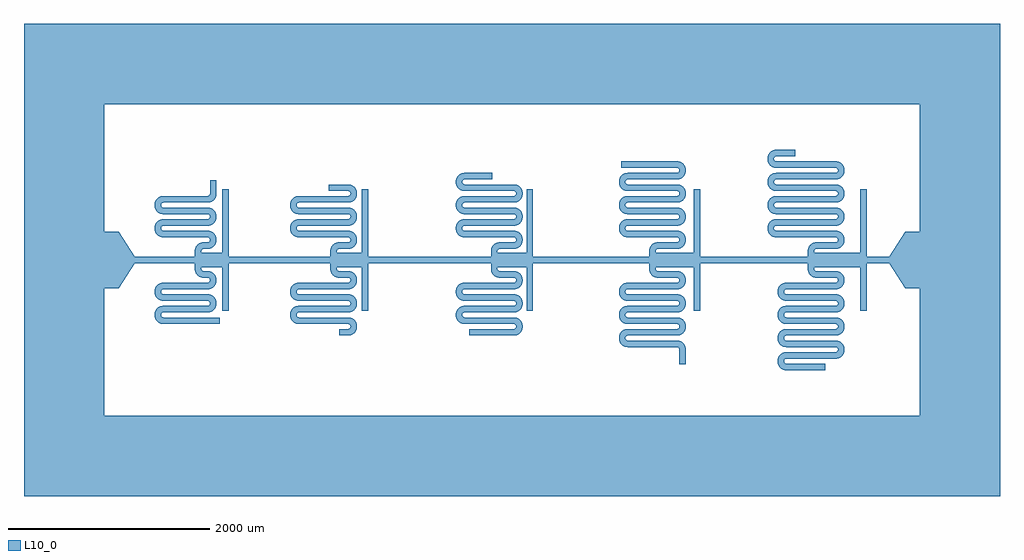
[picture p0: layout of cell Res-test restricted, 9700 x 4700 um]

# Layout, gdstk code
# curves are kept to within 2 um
import gdstk
lib = gdstk.Library(unit=1e-6, precision=1e-09)
def R(c, l, rs):  # rectangles x0, y0, x1, y1
    for r in rs: c.add(gdstk.rectangle(r[:2], r[2:], *l))
def P(c, l, *ps):  # polygons
    for p in ps: c.add(gdstk.Polygon(p, *l))
L10_0 = (10, 0)

res_test_restricted = lib.new_cell('Res-test restricted')
R(res_test_restricted, L10_0, [(7934.389,1255.25,7964.389,1318.25), (6513.667,1314.75,6576.667,1344.75), (3130.915,1600.25,3160.915,1663.25), (4427.582,1600.25,4457.582,1663.25), (1762.778,1715.25,1838.978,1778.25), (1838.978,1715.25,1860.35,1778.25), (1860.35,1715.25,1914.167,1778.25), (1914.167,1715.25,1944.167,1778.25), (1971.667,1845.5,2034.667,1875.5), (3358.333,1845.5,3421.333,1875.5), (4995,1845.5,5058,1875.5), (6656.667,1845.5,6719.667,1875.5), (8313.333,1845.5,8376.333,1875.5), (1971.667,1875.5,2034.667,2275.5), (3358.333,1875.5,3421.333,2275.5), (4995,1875.5,5058,2275.5), (6656.667,1875.5,6719.667,2275.5), (8313.333,1875.5,8376.333,2275.5), (1741.667,2275.5,1991.667,2424.5), (3088.333,2275.5,3378.333,2424.5), (4685,2275.5,5015,2424.5), (6256.667,2275.5,6676.667,2424.5), (7833.333,2275.5,8333.333,2424.5), (1708.667,2290.5,1718.667,2409.5), (2014.667,2290.5,2024.667,2409.5), (3055.333,2290.5,3065.333,2409.5), (3401.333,2290.5,3411.333,2409.5), (4652,2290.5,4662,2409.5), (5038,2290.5,5048,2409.5), (6223.667,2290.5,6233.667,2409.5), (6699.667,2290.5,6709.667,2409.5), (7800.333,2290.5,7810.333,2409.5), (8356.333,2290.5,8366.333,2409.5), (1100,2318.5,1708.667,2381.5), (2024.667,2318.5,3055.333,2381.5), (3411.333,2318.5,4652,2381.5), (5048,2318.5,6223.667,2381.5), (6709.667,2318.5,7800.333,2381.5), (8366.333,2318.5,8600,2381.5), (1971.667,2424.5,2034.667,3024.5), (3358.333,2424.5,3421.333,3024.5), (4995,2424.5,5058,3024.5), (6656.667,2424.5,6719.667,3024.5), (8313.333,2424.5,8376.333,3024.5), (1971.667,3024.5,2034.667,3054.5), (3358.333,3024.5,3421.333,3054.5), (4995,3024.5,5058,3054.5), (6656.667,3024.5,6719.667,3054.5), (8313.333,3024.5,8376.333,3054.5), (3030.915,3036.75,3060.915,3099.75), (1848.667,3111.25,1911.667,3141.25), (4621.631,3151.75,4651.631,3214.75), (5934.824,3266.75,5964.824,3329.75), (7634.389,3381.75,7664.389,3444.75)])
P(res_test_restricted, L10_0, [(9700,0),(9700,4700),(0,4700),(0,2071),(432,2071),(432,2629),(800,2629),(800,3900),(8900,3900),(8900,2629),(9268,2629),(9268,2071),(8900,2071),(8900,800),(800,800),(800,2071),(432,2071),(0,2071),(0,0)],
  [(1100,2318.5),(1100,2381.5),(940,2629),(432,2629),(432,2071),(940,2071)],
  [(8600,2381.5),(8600,2318.5),(8760,2071),(9268,2071),(9268,2629),(8760,2629)],
  [(1698.667,2424.5),(1698.667,2361.5),(1718.667,2361.5),(1718.667,2338.5),(1698.667,2338.5),(1698.667,2275.5),(1741.667,2275.5),(1741.667,2424.5)],
  [(2034.667,2275.5),(2034.667,2338.5),(2014.667,2338.5),(2014.667,2361.5),(2034.667,2361.5),(2034.667,2424.5),(1991.667,2424.5),(1991.667,2275.5)],
  [(1354.167,2117.507),(1332.507,2105.377),(1313.878,2085.746),(1302.898,2063.481),(1298.667,2036.956),(1301.611,2009.361),(1312.619,1984.637),(1330.729,1964.525),(1354.167,1950.993)],
  [(1354.167,1887.507),(1332.507,1875.377),(1313.878,1855.746),(1302.898,1833.481),(1298.667,1806.956),(1301.611,1779.361),(1312.619,1754.637),(1330.729,1734.525),(1354.167,1720.993)],
  [(1371.858,2012.385),(1364.23,2021.082),(1361.667,2031.956),(1363.458,2045.742),(1371.858,2056.115),(1371.858,2122.22),(1354.167,2117.507),(1354.167,1950.993),(1371.858,1946.28)],
  [(1371.858,1782.385),(1364.23,1791.082),(1361.667,1801.956),(1363.458,1815.742),(1371.858,1826.115),(1371.858,1892.22),(1354.167,1887.507),(1354.167,1720.993),(1371.858,1716.28)],
  [(1762.778,2254.621),(1761.667,2275.5),(1698.667,2275.5),(1701.054,2241.556),(1712.619,2214.637),(1734.322,2191.768),(1762.778,2178.195)],
  [(1372.889,2056.785),(1385.373,2060.25),(1762.778,2060.25),(1762.778,2123.25),(1371.858,2122.22)],
  [(1762.778,2008.25),(1385.373,2008.25),(1371.858,2012.385),(1371.858,1946.28),(1762.778,1945.25)],
  [(1372.889,1826.785),(1385.373,1830.25),(1762.778,1830.25),(1762.778,1893.25),(1371.858,1892.22)],
  [(1762.778,1778.25),(1385.373,1778.25),(1371.858,1782.385),(1371.858,1716.28),(1762.778,1715.25)],
  [(1838.978,2237.14),(1779.681,2238.902),(1768.992,2244.706),(1762.778,2254.621),(1762.778,2178.195),(1827.623,2175.119),(1838.978,2170.76)],
  [(1825.373,2060.25),(1838.978,2061.36),(1838.978,2127.74),(1826.396,2123.285),(1762.778,2123.25),(1762.778,2060.25)],
  [(1838.978,2007.14),(1762.778,2008.25),(1762.778,1945.25),(1826.396,1945.215),(1838.978,1940.76)],
  [(1825.373,1830.25),(1838.978,1831.36),(1838.978,1897.74),(1826.396,1893.285),(1762.778,1893.25),(1762.778,1830.25)],
  [(1840.931,2061.696),(1860.35,2067.726),(1860.35,2230.774),(1838.978,2237.14),(1838.978,2170.76),(1846.103,2162.418),(1848.667,2151.544),(1846.875,2137.758),(1838.978,2127.74),(1838.978,2061.36)],
  [(1840.931,1831.696),(1860.35,1837.726),(1860.35,2000.774),(1838.978,2007.14),(1838.978,1940.76),(1846.103,1932.418),(1848.667,1921.544),(1846.875,1907.758),(1838.978,1897.74),(1838.978,1831.36)],
  [(1862.407,2068.674),(1884.711,2084.003),(1900.08,2103.499),(1909.279,2126.556),(1911.667,2151.956),(1908.107,2176.318),(1897.714,2198.863),(1881.346,2217.527),(1860.35,2230.774),(1860.35,2067.726)],
  [(1862.407,1838.674),(1884.711,1854.003),(1900.08,1873.499),(1909.279,1896.556),(1911.667,1921.956),(1908.107,1946.318),(1897.714,1968.863),(1881.346,1987.527),(1860.35,2000.774),(1860.35,1837.726)],
  [(1761.667,2438.044),(1766.157,2452.061),(1777.906,2460.597),(1836.458,2462.487),(1868.418,2473.336),(1893.794,2495.59),(1908.412,2524.761),(1778.38,2524.486),(1758.436,2520.519),(1741.915,2513.164),(1722.42,2497.795),(1707.091,2475.49),(1699.729,2451.782),(1698.667,2424.5),(1761.667,2424.5)],
  [(1908.722,2525.861),(1911.195,2562.292),(1901.848,2593.268),(1334.322,2593.268),(1356.291,2581.709),(1382.902,2576.777),(1827.623,2576.619),(1836.915,2573.599),(1844.176,2567.061),(1848.656,2547.635),(1841.782,2531.635),(1825.782,2524.761)],
  [(1901.187,2594.526),(1889.451,2611.132),(1874.162,2624.539),(1856.166,2634.007),(1836.458,2639.013),(1383.323,2639.825),(1370.862,2644.608),(1363.017,2655.406),(1361.959,2671.926),(1367.705,2683.973),(1300.105,2683.973),(1299.404,2679.541),(1299.404,2651.959),(1305.249,2630.147),(1316.539,2610.59),(1334.322,2593.268)],
  [(1368.122,2684.424),(1384.552,2691.739),(1838.699,2692.812),(1864.438,2701.176),(1886.333,2717.083),(1902.241,2738.979),(1910.472,2763.946),(1843.808,2763.946),(1835.834,2757.314),(1825.782,2754.761),(1371.635,2753.688),(1345.895,2745.324),(1324,2729.417),(1308.092,2707.521),(1300.105,2683.973)],
  [(1910.604,2764.718),(1911.195,2792.292),(1905.085,2816.353),(1890.944,2839.429),(1872.279,2855.797),(1307.196,2855.797),(1319.389,2837.071),(1334.322,2823.268),(1352.064,2813.332),(1371.635,2807.812),(1827.01,2806.675),(1839.471,2801.892),(1847.103,2791.671),(1848.463,2775.183),(1843.808,2763.946)],
  [(1870.364,2857.006),(1851.897,2865.519),(1829.694,2869.634),(1384.552,2869.761),(1373.955,2872.6),(1365.46,2880.452),(1361.702,2892.02),(1363.701,2907.807),(1371.355,2917.26),(1383.323,2921.675),(1827.431,2921.777),(1301.932,2921.777),(1298.931,2905.037),(1299.729,2879.718),(1307.196,2855.797),(1872.279,2855.797)],
  [(1829.694,2921.866),(1858.27,2928.332),(1884.711,2945.503),(1903.243,2971.01),(1911.195,2999.208),(1911.667,3111.25),(1848.667,3111.25),(1848.463,3005.183),(1843.427,2993.463),(1833.01,2986.1),(1373.876,2984.013),(1349.983,2977.274),(1328.988,2964.027),(1312.619,2945.363),(1301.932,2921.777)],
  [(3045.333,2424.5),(3045.333,2361.5),(3065.333,2361.5),(3065.333,2338.5),(3045.333,2338.5),(3045.333,2275.5),(3088.333,2275.5),(3088.333,2424.5)],
  [(3421.333,2275.5),(3421.333,2338.5),(3401.333,2338.5),(3401.333,2361.5),(3421.333,2361.5),(3421.333,2424.5),(3378.333,2424.5),(3378.333,2275.5)],
  [(3224.098,1600.277),(3244.222,1603.195),(3263.109,1610.73),(3279.715,1622.466),(3293.122,1637.754),(3302.591,1655.75),(3307.271,1673.218),(3308.217,1696.277),(3305.112,1715.119),(3224.289,1715.119),(3237.094,1709.617),(3244.53,1697.832),(3244.53,1680.668),(3236.621,1668.489),(3223.677,1663.325),(3160.915,1663.25),(3160.915,1600.25)],
  [(3304.774,1716.318),(3294.381,1738.863),(3279.715,1756.034),(3259.074,1769.826),(3235.365,1777.188),(2730.604,1778.285),(2719.556,1781.715),(2711.799,1789.473),(2708.465,1799.294),(2709.339,1813.537),(2645.597,1813.537),(2648.278,1779.361),(2663.206,1749.09),(2688.582,1726.836),(2718.301,1716.312)],
  [(2709.486,1814.011),(2717.529,1825.392),(2731.218,1830.239),(3235.365,1831.312),(3261.105,1839.676),(3283,1855.583),(3298.908,1877.479),(3306.895,1901.027),(3239.295,1901.027),(3222.448,1893.261),(2718.301,1892.188),(2690.558,1882.77),(2669.086,1866.295),(2652.809,1841.934),(2645.805,1815.792),(2645.597,1813.537)],
  [(3307.271,1903.218),(3307.271,1935.282),(3296.747,1965.001),(3276.271,1988.975),(3250.709,2003.291),(2650.151,2003.291),(2660.544,1982.754),(2675.654,1965.973),(2694.593,1953.674),(2718.301,1946.312),(3223.677,1945.175),(3236.138,1940.392),(3243.983,1929.594),(3245.041,1913.074),(3239.295,1901.027),(3306.895,1901.027)],
  [(3248.564,2004.019),(3222.04,2008.25),(2729.99,2008.325),(2719.556,2011.715),(2711.484,2020.001),(2708.408,2029.906),(2709.684,2044.594),(2718.022,2055.76),(2731.218,2060.239),(3226.361,2060.366),(3250.709,2065.209),(3274.363,2078.026),(2655.813,2078.026),(2648.278,2059.139),(2645.449,2041.277),(2646.071,2020.459),(2650.151,2003.291)],
  [(3274.493,2078.123),(3293.122,2097.754),(3304.102,2120.019),(3308.306,2144.486),(3305.689,2172.958),(3231.949,2172.958),(3243.299,2161.307),(3245.13,2143.683),(3238.878,2130.576),(3225.509,2123.542),(2725.046,2122.986),(2702.958,2118.291),(2684.721,2109.297),(2669.086,2096.295),(2655.813,2078.026)],
  [(3305.389,2174.139),(3297.853,2193.026),(3286.117,2209.632),(3270.829,2223.039),(3252.833,2232.507),(3226.361,2238.134),(3126.948,2238.766),(3117.529,2243.108),(3110.897,2251.082),(3108.333,2275.5),(3045.333,2275.5),(3047.221,2243.765),(3056.92,2218.499),(3075.654,2195.973),(3100.834,2180.993),(3129.569,2175.277)],
  [(3108.333,2438.044),(3113.573,2453.037),(3126.948,2461.234),(3226.361,2461.866),(3257.017,2469.226),(3274.493,2479.623),(3287.611,2492.071),(3298.908,2508.979),(3305.758,2527.314),(3127.306,2524.634),(3096.65,2517.274),(3072.289,2500.997),(3055.813,2479.526),(3046.779,2454.014),(3045.333,2424.5),(3108.333,2424.5)],
  [(3305.946,2528.056),(3308.217,2557.777),(3303.374,2582.125),(3290.461,2605.91),(3272.678,2623.232),(2655.152,2623.232),(2667.549,2605.368),(2684.721,2590.703),(2702.958,2581.709),(2725.046,2577.014),(3225.509,2576.458),(3238.878,2569.424),(3245.13,2556.317),(3243.299,2538.693),(3232.501,2527.314)],
  [(3270.829,2624.539),(3248.564,2635.519),(3224.098,2639.723),(2730.604,2639.785),(2717.046,2644.989),(2709.137,2657.168),(2708.465,2670.706),(2711.799,2680.527),(2719.556,2688.285),(2729.99,2691.675),(3222.04,2691.75),(3251.836,2697.125),(2650.292,2697.125),(2645.597,2675.037),(2646.779,2647.486),(2655.152,2623.232)],
  [(3252.833,2697.493),(3278.012,2712.473),(3296.747,2734.999),(3306.888,2762.486),(3307.596,2794.541),(3306.888,2799.014),(3239.257,2799.014),(3245.041,2786.926),(3243.983,2770.406),(3236.138,2759.608),(3223.677,2754.825),(2716.069,2753.304),(2694.593,2746.326),(2675.654,2734.027),(2660.544,2717.246),(2650.292,2697.125)],
  [(3306.446,2801.235),(3296.747,2826.501),(3281.378,2845.997),(3259.074,2861.326),(3233.124,2869.013),(2731.218,2869.761),(2717.529,2874.608),(2709.304,2886.576),(2645.59,2886.576),(2652.809,2858.066),(2669.086,2833.705),(2692.562,2816.176),(2720.542,2807.487),(3221.627,2806.75),(3231.391,2804.716),(3239.257,2799.014),(3306.888,2799.014)],
  [(2709.137,2887.168),(2708.465,2900.706),(2711.799,2910.527),(2719.556,2918.285),(2729.99,2921.675),(3235.365,2922.812),(3259.074,2930.174),(3279.715,2943.966),(3295.589,2963.052),(3305.133,2984.954),(2718.301,2983.688),(2690.558,2974.27),(2669.086,2957.795),(2652.809,2933.434),(2645.805,2907.292),(2645.59,2886.576)],
  [(3305.389,2985.861),(3308.069,3020.037),(3300.857,3048.434),(3283,3074.417),(3259.074,3091.326),(3226.361,3099.634),(3060.915,3099.75),(3060.915,3036.75),(3226.719,3036.234),(3241.54,3026.048),(3245.323,3007.635),(3239.295,2992.527),(3224.9,2984.954)],
  [(4642,2424.5),(4642,2361.5),(4662,2361.5),(4662,2338.5),(4642,2338.5),(4642,2275.5),(4685,2275.5),(4685,2424.5)],
  [(5058,2275.5),(5058,2338.5),(5038,2338.5),(5038,2361.5),(5058,2361.5),(5058,2424.5),(5015,2424.5),(5015,2275.5)],
  [(4870.764,1600.277),(4890.889,1603.195),(4909.776,1610.73),(4926.382,1622.466),(4939.789,1637.754),(4948.418,1653.647),(4953.938,1673.218),(4954.884,1696.277),(4951.778,1715.119),(4870.956,1715.119),(4885.962,1707.473),(4892,1691.544),(4887.142,1672.446),(4870.956,1663.381),(4457.582,1663.25),(4457.582,1600.25)],
  [(4951.44,1716.318),(4942.256,1736.948),(4926.382,1756.034),(4905.74,1769.826),(4882.032,1777.188),(4377.27,1778.285),(4366.223,1781.715),(4358.465,1789.473),(4355.131,1799.294),(4356.005,1813.537),(4292.264,1813.537),(4294.945,1779.361),(4309.873,1749.09),(4333.302,1727.994),(4364.968,1716.312)],
  [(4356.153,1814.011),(4364.196,1825.392),(4377.885,1830.239),(4882.032,1831.312),(4907.771,1839.676),(4929.667,1855.583),(4944.52,1875.474),(4953.561,1901.027),(4885.962,1901.027),(4869.115,1893.261),(4364.968,1892.188),(4337.224,1882.77),(4315.753,1866.295),(4299.476,1841.934),(4292.471,1815.792),(4292.264,1813.537)],
  [(4953.938,1903.218),(4953.938,1935.282),(4943.414,1965.001),(4922.938,1988.975),(4897.375,2003.291),(4296.818,2003.291),(4307.211,1982.754),(4322.321,1965.973),(4343.316,1952.726),(4364.968,1946.312),(4870.344,1945.175),(4882.804,1940.392),(4890.65,1929.594),(4891.708,1913.074),(4885.962,1901.027),(4953.561,1901.027)],
  [(4895.231,2004.019),(4868.706,2008.25),(4376.656,2008.325),(4365.702,2012.044),(4357.85,2020.538),(4355.035,2030.52),(4356.35,2044.594),(4364.689,2055.76),(4377.885,2060.239),(4873.027,2060.366),(4897.375,2065.209),(4921.03,2078.026),(4302.48,2078.026),(4294.945,2059.139),(4292.116,2041.277),(4292.737,2020.459),(4296.818,2003.291)],
  [(4921.16,2078.123),(4939.789,2097.754),(4950.769,2120.019),(4954.973,2144.486),(4952.355,2172.958),(4878.616,2172.958),(4889.966,2161.307),(4891.796,2143.683),(4885.115,2130.135),(4872.176,2123.542),(4371.713,2122.986),(4351.769,2119.019),(4331.387,2109.297),(4315.753,2096.295),(4302.48,2078.026)],
  [(4952.055,2174.139),(4943.414,2195.001),(4931.247,2211.295),(4913.698,2225.506),(4895.231,2234.019),(4870.764,2238.223),(4724.824,2238.542),(4715.191,2242.385),(4707.85,2250.538),(4705,2275.5),(4642,2275.5),(4643.888,2243.765),(4654.744,2216.552),(4675.84,2193.123),(4701.769,2179.481),(4726.236,2175.277)],
  [(4705,2438.044),(4710.633,2453.51),(4724.824,2461.458),(4870.764,2461.777),(4897.375,2466.709),(4915.613,2475.703),(4931.247,2488.705),(4943.414,2504.999),(4951.763,2524.825),(4726.236,2524.723),(4699.625,2519.791),(4674.062,2505.475),(4654.744,2483.448),(4643.888,2456.235),(4642,2424.5),(4705,2424.5)],
  [(4952.055,2525.861),(4954.263,2564.541),(4943.414,2596.501),(4323.49,2596.501),(4347.5,2582.493),(4376.236,2576.777),(4870.956,2576.619),(4887.142,2567.554),(4892,2548.456),(4885.962,2532.527),(4870.344,2524.825)],
  [(4942.256,2598.448),(4929.667,2614.417),(4915.613,2625.797),(4897.375,2634.791),(4879.791,2639.013),(4376.656,2639.825),(4363.713,2644.989),(4355.97,2656.576),(4355.652,2673.735),(4363.24,2686.117),(4293.865,2686.117),(4292.737,2679.541),(4292.471,2654.208),(4297.743,2632.25),(4308.518,2612.405),(4323.49,2596.501)],
  [(4363.713,2686.511),(4378.706,2691.75),(4879.791,2692.487),(4905.74,2700.174),(4929.667,2717.083),(4946.576,2741.01),(4954.263,2766.959),(4889.106,2766.959),(4880.777,2758.215),(4869.115,2754.761),(4367.209,2754.013),(4341.26,2746.326),(4318.955,2730.997),(4302.48,2709.526),(4293.865,2686.117)],
  [(4954.529,2769.208),(4953.554,2799.014),(4944.52,2824.526),(4928.045,2845.997),(4905.74,2861.326),(4298.112,2861.326),(4309.873,2840.59),(4325.84,2824.623),(4345.397,2813.332),(4367.209,2807.487),(4870.344,2806.675),(4881.809,2802.615),(4889.708,2793.366),(4891.989,2777.635),(4889.106,2766.959),(4954.263,2766.959)],
  [(4903.684,2862.274),(4888.694,2867.363),(4870.764,2869.723),(4377.27,2869.785),(4370.079,2871.313),(4363.24,2875.383),(4358.465,2880.973),(4355.516,2888.365),(4355.292,2901.926),(4358.794,2911.048),(4366.223,2918.285),(4376.656,2921.675),(4868.706,2921.75),(4890.889,2924.695),(4296.142,2924.695),(4292.264,2905.037),(4292.737,2881.959),(4298.112,2861.326),(4905.74,2861.326)],
  [(4893.068,2925.31),(4919.345,2938.268),(4939.789,2959.254),(4952.055,2985.861),(4954.973,3015.514),(4954.692,3020.511),(4890.847,3020.511),(4891.925,3006.406),(4888.849,2996.501),(4880.777,2988.215),(4870.344,2984.825),(4364.968,2983.688),(4343.316,2977.274),(4322.321,2964.027),(4305.953,2945.363),(4296.142,2924.695)],
  [(4954.529,3022.292),(4946.576,3050.49),(4929.667,3074.417),(4905.74,3091.326),(4879.791,3099.013),(4378.706,3099.75),(4366.751,3102.901),(4294.426,3102.901),(4304.744,3078.052),(4320.618,3058.966),(4343.316,3044.226),(4367.209,3037.487),(4869.115,3036.739),(4882.804,3031.892),(4890.847,3020.511)],
  [(4366.223,3103.215),(4356.563,3114.829),(4355.292,3131.926),(4361.885,3144.865),(4374.218,3151.354),(4621.631,3151.75),(4621.631,3214.75),(4376.236,3214.723),(4343.316,3207.274),(4317.333,3189.417),(4300.424,3165.49),(4292.471,3137.292),(4293.888,3105.265),(4294.426,3102.901)],
  [(6213.667,2424.5),(6213.667,2361.5),(6233.667,2361.5),(6233.667,2338.5),(6213.667,2338.5),(6213.667,2275.5),(6256.667,2275.5),(6256.667,2424.5)],
  [(6719.667,2275.5),(6719.667,2338.5),(6699.667,2338.5),(6699.667,2361.5),(6719.667,2361.5),(6719.667,2424.5),(6676.667,2424.5),(6676.667,2275.5)],
  [(6576.667,1461.956),(6570.924,1492.75),(6554.451,1519.632),(6531.442,1537.77),(6501.458,1547.513),(5916.55,1549.6),(5926.411,1526.552),(5943.988,1505.973),(5964.983,1492.726),(5991.125,1485.721),(6498.01,1483.9),(6508.808,1476.054),(6513.535,1464.206),(6513.667,1344.75),(6576.667,1344.75)],
  [(5991.746,1549.813),(5979.23,1561.082),(5976.798,1579.206),(5983.122,1592.924),(5996.491,1599.958),(6496.954,1600.514),(6516.897,1604.481),(6535.364,1612.994),(6551.333,1625.583),(6563.922,1641.552),(5942.876,1641.552),(5927.619,1623.863),(5917.226,1601.318),(5913.667,1576.956),(5916.55,1549.6)],
  [(6565.08,1643.499),(6572.436,1660.019),(6576.195,1677.708),(6576.403,1698.537),(6573.107,1716.318),(5986.6,1716.318),(6492.01,1715.175),(6503.476,1711.115),(6511.633,1701.307),(6513.632,1685.52),(6510.516,1675.001),(6502.444,1666.715),(6490.782,1663.261),(5995.639,1663.134),(5967.064,1656.668),(5942.876,1641.552),(6563.922,1641.552)],
  [(6572.436,1718.481),(6561.456,1740.746),(6546.346,1757.527),(6527.407,1769.826),(6503.699,1777.188),(5998.323,1778.325),(5986.858,1782.385),(5978.958,1791.634),(5976.677,1807.365),(5979.817,1818.499),(5914.47,1818.499),(5915.554,1783.765),(5928.878,1752.754),(5954.969,1727.994),(5986.6,1716.318),(6573.107,1716.318)],
  [(5980.132,1819.027),(5988.418,1827.099),(5999.552,1830.239),(6501.458,1830.987),(6527.407,1838.674),(6551.333,1855.583),(6567.241,1877.479),(6575.786,1904.473),(6510.201,1904.473),(6501.915,1896.401),(6490.782,1893.261),(5988.876,1892.513),(5962.926,1884.826),(5939,1867.917),(5923.092,1846.021),(5914.47,1818.499)],
  [(6575.929,1905.459),(6574.779,1939.735),(6561.456,1970.746),(6537.279,1994.297),(6505.931,2006.804),(5917.343,2006.804),(5927.619,1984.637),(5943.988,1965.973),(5962.926,1953.674),(5986.635,1946.312),(6492.01,1945.175),(6503.476,1941.115),(6511.633,1931.307),(6513.632,1915.52),(6510.201,1904.473)],
  [(6503.699,2007.188),(5998.323,2008.325),(5986.858,2012.385),(5978.958,2021.634),(5976.677,2037.365),(5979.817,2048.499),(5987.889,2056.785),(5999.552,2060.239),(6494.694,2060.366),(6523.27,2066.832),(6546.346,2080.973),(5925.831,2080.973),(5917.226,2061.318),(5913.783,2041.277),(5914.138,2022.708),(5917.343,2006.804)],
  [(6548.048,2082.466),(6562.714,2099.637),(6573.107,2122.182),(6576.64,2144.486),(6573.837,2173.687),(6498.587,2173.687),(6511.103,2162.418),(6513.535,2144.294),(6507.211,2130.576),(6493.842,2123.542),(5993.38,2122.986),(5973.436,2119.019),(5954.969,2110.506),(5939,2097.917),(5925.831,2080.973)],
  [(6573.722,2174.139),(6565.08,2195.001),(6551.333,2212.917),(6533.418,2226.664),(6512.555,2235.305),(6492.431,2238.223),(6297.1,2238.454),(6286.858,2242.385),(6279.517,2250.538),(6276.667,2275.5),(6213.667,2275.5),(6216.054,2241.556),(6227.619,2214.637),(6249.322,2191.768),(6277.778,2178.195),(6297.902,2175.277)],
  [(6276.667,2438.044),(6282.705,2453.973),(6297.711,2461.619),(6492.431,2461.777),(6514.735,2465.31),(6533.418,2473.336),(6551.333,2487.083),(6565.08,2504.999),(6573.635,2525.553),(6297.902,2524.723),(6275.599,2521.19),(6247.507,2506.877),(6227.619,2485.363),(6216.054,2458.444),(6213.667,2424.5),(6276.667,2424.5)],
  [(6573.722,2525.861),(6576.64,2545.986),(6574.779,2571.235),(6568.243,2590.49),(6557.392,2607.688),(5933.876,2607.688),(5960.895,2586.176),(5995.639,2576.866),(6493.234,2576.546),(6507.629,2568.973),(6513.632,2554.48),(6510.201,2535.973),(6496.248,2525.553)],
  [(6555.944,2609.429),(6527.407,2631.326),(6494.694,2639.634),(5997.711,2639.881),(5983.122,2647.076),(5976.742,2661.406),(5979.817,2679.999),(5994.085,2690.947),(5916.698,2690.947),(5914.138,2677.292),(5917.226,2638.682),(5933.876,2607.688)],
  [(5994.681,2691.098),(6503.699,2692.812),(6533.418,2703.336),(6557.392,2723.812),(6572.436,2751.519),(6576.667,2783.044),(6513.667,2783.044),(6508.808,2763.946),(6501.379,2757.6),(6491.396,2754.785),(5986.635,2753.688),(5962.926,2746.326),(5942.285,2732.534),(5926.411,2713.448),(5916.698,2690.947)],
  [(6576.667,2783.456),(6570.924,2814.25),(6554.451,2841.132),(6531.442,2859.27),(6501.458,2869.013),(5916.611,2870.861),(5926.411,2848.052),(5942.285,2828.966),(5962.926,2815.174),(5988.876,2807.487),(6491.396,2806.715),(6507.211,2799.424),(6513.667,2783.044)],
  [(5992.906,2870.903),(5979.517,2882.038),(5976.742,2900.094),(5982.705,2913.973),(5996.491,2921.458),(6494.694,2921.866),(6512.555,2924.695),(6531.442,2932.23),(6558.794,2955.59),(5935.408,2955.59),(5923.092,2937.521),(5915.554,2916.235),(5913.694,2890.986),(5916.611,2870.861)],
  [(6560.149,2957.405),(6570.085,2975.147),(6575.604,2994.718),(6576.551,3017.777),(6573.554,3036.234),(6495.052,3036.234),(6509.873,3026.048),(6513.656,3007.635),(6507.629,2992.527),(6493.234,2984.954),(5995.639,2984.634),(5962.926,2976.326),(5935.408,2955.59)],
  [(6573.107,3037.818),(6562.714,3060.363),(6546.346,3079.027),(6525.35,3092.274),(6501.458,3099.013),(5998.937,3099.785),(5988.955,3102.6),(5981.525,3108.946),(5977.319,3117.765),(5976.702,3129.48),(5913.68,3129.48),(5917.898,3096.519),(5932.941,3068.812),(5956.915,3048.336),(5988.876,3037.487)],
  [(5976.742,3130.094),(5983.992,3145.294),(5998.937,3151.715),(6501.458,3152.487),(6527.407,3160.174),(6548.048,3173.966),(6563.922,3193.052),(6573.783,3216.1),(5988.876,3214.013),(5962.926,3206.326),(5939,3189.417),(5923.092,3167.521),(5914.404,3139.541),(5913.68,3129.48)],
  [(6574.279,3218.056),(6575.604,3256.782),(6563.922,3288.448),(6539.162,3314.539),(6505.931,3328.304),(5964.824,3329.75),(5964.824,3266.75),(6492.01,3266.675),(6506.341,3260.294),(6513.463,3246.317),(6511.103,3227.582),(6498.01,3216.1)],
  [(7790.333,2424.5),(7790.333,2361.5),(7810.333,2361.5),(7810.333,2338.5),(7790.333,2338.5),(7790.333,2275.5),(7833.333,2275.5),(7833.333,2424.5)],
  [(8376.333,2275.5),(8376.333,2338.5),(8356.333,2338.5),(8356.333,2361.5),(8376.333,2361.5),(8376.333,2424.5),(8333.333,2424.5),(8333.333,2275.5)],
  [(7934.389,1318.25),(7574.99,1318.325),(7560.218,1325.135),(7553.368,1340.52),(7557.127,1359.548),(7571.948,1369.734),(7493.446,1369.734),(7490.597,1353.537),(7493.893,1317.182),(7509.608,1287.312),(7535.558,1265.73),(7570.046,1255.514),(7934.389,1255.25)],
  [(7572.551,1369.854),(8080.365,1371.312),(8110.085,1381.836),(8135.461,1404.09),(8149.774,1432.182),(8153.25,1465.426),(8090.041,1465.426),(8089.937,1452.468),(8086.198,1443.441),(8078.045,1436.1),(8068.063,1433.285),(7563.301,1432.188),(7539.593,1424.826),(7518.952,1411.034),(7503.078,1391.948),(7493.446,1369.734)],
  [(8153.217,1466.277),(8145.857,1496.934),(8129.58,1521.295),(8106.105,1538.824),(8078.124,1547.513),(7577.04,1548.25),(7563.524,1552.385),(7492.533,1552.385),(7501.92,1528.499),(7518.952,1507.466),(7539.593,1493.674),(7565.542,1485.987),(8067.448,1485.239),(8082.556,1479.212),(8090.041,1465.426)],
  [(7563.022,1552.74),(7554.486,1564.489),(7553.85,1581.635),(7560.659,1593.794),(7573.158,1599.958),(8073.62,1600.514),(8095.709,1605.209),(8115.829,1615.461),(8132.611,1630.571),(8144.804,1649.297),(7529.721,1649.297),(7509.608,1631.188),(7496.076,1607.75),(7490.449,1581.277),(7492.533,1552.385)],
  [(8144.909,1649.51),(8150.389,1664.361),(8153.217,1682.223),(8152.596,1703.041),(8148.515,1720.209),(7547.958,1720.209),(7561.069,1716.696),(7576.627,1715.25),(8068.677,1715.175),(8079.111,1711.785),(8086.868,1704.027),(8090.202,1694.206),(8089.53,1680.668),(8081.621,1668.489),(8068.063,1663.285),(7574.569,1663.223),(7550.103,1659.019),(7529.721,1649.297)],
  [(8148.374,1720.625),(8138.122,1740.746),(8121.271,1758.975),(8102.017,1770.774),(8080.365,1777.188),(7574.99,1778.325),(7562.529,1783.108),(7554.897,1793.329),(7553.537,1809.817),(7558.573,1821.537),(7491.396,1820.282),(7491.396,1788.218),(7501.92,1758.499),(7522.395,1734.525),(7547.958,1720.209)],
  [(7558.966,1822.01),(7566.717,1827.958),(7576.218,1830.239),(8078.124,1830.987),(8104.074,1838.674),(8128,1855.583),(8144.909,1879.51),(8152.801,1907.193),(8088.299,1907.193),(8080.142,1897.385),(8067.448,1893.261),(7565.542,1892.513),(7539.593,1884.826),(7517.289,1869.497),(7500.813,1848.026),(7491.611,1821.537)],
  [(8152.862,1907.708),(8150.946,1941.944),(8136.815,1972.595),(8112.031,1995.506),(8080.365,2007.188),(7493.725,2007.779),(7503.078,1986.552),(7518.952,1967.466),(7539.593,1953.674),(7563.301,1946.312),(8068.677,1945.175),(8080.142,1941.115),(8087.77,1932.418),(8090.323,1922.365),(8088.299,1907.193)],
  [(8073.62,2007.986),(7574.99,2008.325),(7563.022,2012.74),(7555.125,2022.758),(7553.408,2038.594),(7557.469,2050.059),(7565.621,2057.4),(7576.218,2060.239),(8071.361,2060.366),(8099.936,2066.832),(8126.227,2083.863),(7504.286,2083.863),(7494.564,2063.481),(7490.449,2041.277),(7493.725,2007.779)],
  [(8126.378,2084.003),(8140.589,2101.552),(8150.389,2124.361),(8153.333,2146.544),(8150.45,2173.9),(8074.677,2173.9),(8087.483,2162.962),(8090.258,2144.906),(8084.295,2131.027),(8070.509,2123.542),(7570.046,2122.986),(7550.103,2119.019),(7533.582,2111.664),(7517.289,2099.497),(7504.286,2083.863)],
  [(8150.389,2174.139),(8141.747,2195.001),(8128,2212.917),(8110.085,2226.664),(8089.222,2235.305),(8069.098,2238.223),(7873.766,2238.454),(7863.524,2242.385),(7856.184,2250.538),(7853.333,2275.5),(7790.333,2275.5),(7792.721,2241.556),(7804.286,2214.637),(7825.988,2191.768),(7854.445,2178.195),(7874.569,2175.277)],
  [(7853.333,2438.044),(7859.371,2453.973),(7874.377,2461.619),(8069.098,2461.777),(8091.401,2465.31),(8112.031,2474.494),(8129.58,2488.705),(8142.853,2506.974),(8150.504,2526.313),(7874.569,2524.723),(7852.265,2521.19),(7825.988,2508.232),(7804.286,2485.363),(7792.721,2458.444),(7790.333,2424.5),(7853.333,2424.5)],
  [(8150.946,2528.056),(8153.306,2555.514),(8149.774,2577.818),(8139.381,2600.363),(8124.715,2617.534),(7403.405,2617.534),(7417.289,2600.503),(7433.582,2588.336),(7452.265,2580.31),(7472.306,2576.866),(8069.9,2576.546),(8083.878,2569.424),(8090.202,2555.706),(8087.77,2537.582),(8075.254,2526.313)],
  [(8123.012,2619.027),(8099.936,2633.168),(8071.361,2639.634),(7476.218,2639.761),(7465.085,2642.901),(7456.799,2650.973),(7453.368,2662.02),(7455.367,2677.807),(7463.524,2687.615),(7474.99,2691.675),(8078.124,2692.487),(7393.8,2692.487),(7390.597,2675.037),(7392.221,2645.265),(7403.405,2617.534),(8124.715,2617.534)],
  [(8080.365,2692.812),(8108.109,2702.23),(8129.58,2718.705),(8145.857,2743.066),(8153.069,2771.463),(8152.735,2793.366),(8088.042,2793.366),(8090.333,2778.456),(8087.77,2767.582),(8079.631,2758.544),(8068.063,2754.785),(7463.301,2753.688),(7439.593,2746.326),(7418.952,2732.534),(7403.078,2713.448),(7393.8,2692.487)],
  [(8152.596,2794.541),(8143.908,2822.521),(8128,2844.417),(8104.074,2861.326),(8075.875,2869.279),(7476.218,2869.761),(7466.166,2872.314),(7458.192,2878.946),(7391.528,2878.946),(7400.813,2851.974),(7417.289,2830.503),(7439.593,2815.174),(7467.791,2807.221),(8067.448,2806.739),(8079.631,2802.956),(8088.042,2793.366)],
  [(7457.824,2879.439),(7453.465,2890.794),(7455.125,2907.242),(7463.022,2917.26),(7474.99,2921.675),(8080.365,2922.812),(8104.074,2930.174),(8123.012,2942.473),(8138.122,2959.254),(8148.762,2980.519),(7450.103,2980.519),(7424.174,2966.877),(7404.286,2945.363),(7392.721,2918.444),(7390.597,2886.463),(7391.528,2878.946)],
  [(8149.102,2981.519),(8152.862,2999.208),(8153.069,3020.037),(8150.389,3035.639),(8144.184,3051.961),(7427.838,3051.961),(7450.103,3040.981),(7474.569,3036.777),(8068.063,3036.715),(8081.138,3031.892),(8089.181,3020.511),(8090.258,3006.406),(8087.183,2996.501),(8079.111,2988.215),(8068.063,2984.785),(7476.627,2984.75),(7450.103,2980.519)],
  [(8143.908,3052.521),(8132.611,3069.429),(8115.829,3084.539),(8095.709,3094.791),(8075.875,3099.279),(7475.604,3099.785),(7462.046,3104.989),(7453.985,3117.765),(7454.486,3135.511),(7464.036,3147.956),(7392.611,3147.956),(7390.805,3137.292),(7391.071,3111.959),(7397.809,3088.066),(7411.056,3067.071),(7427.838,3051.961)],
  [(7464.556,3148.285),(7477.04,3151.75),(8078.124,3152.487),(8108.109,3162.23),(8131.117,3180.368),(8146.751,3205.147),(8153.274,3235.183),(8090.13,3235.183),(8082.556,3220.788),(8067.448,3214.761),(7465.542,3214.013),(7439.593,3206.326),(7418.952,3192.534),(7401.92,3171.501),(7392.611,3147.956)],
  [(8153.306,3235.986),(8149.102,3269.981),(8134.059,3297.688),(8110.085,3318.164),(8078.124,3329.013),(7393.408,3330.402),(7404.286,3306.137),(7420.654,3287.473),(7441.65,3274.226),(7465.542,3267.487),(8068.063,3266.715),(8078.045,3263.9),(8086.198,3256.559),(8089.937,3247.532),(8090.13,3235.183)],
  [(7470.752,3330.553),(7458.192,3338.946),(7453.344,3352.635),(7456.484,3369.999),(7469.572,3380.597),(7634.389,3381.75),(7634.389,3444.75),(7470.046,3444.486),(7447.958,3439.791),(7427.838,3429.539),(7408.206,3410.91),(7395.292,3387.125),(7390.36,3360.514),(7393.408,3330.402)])

lib.write_gds('Res-test_restricted.gds')
